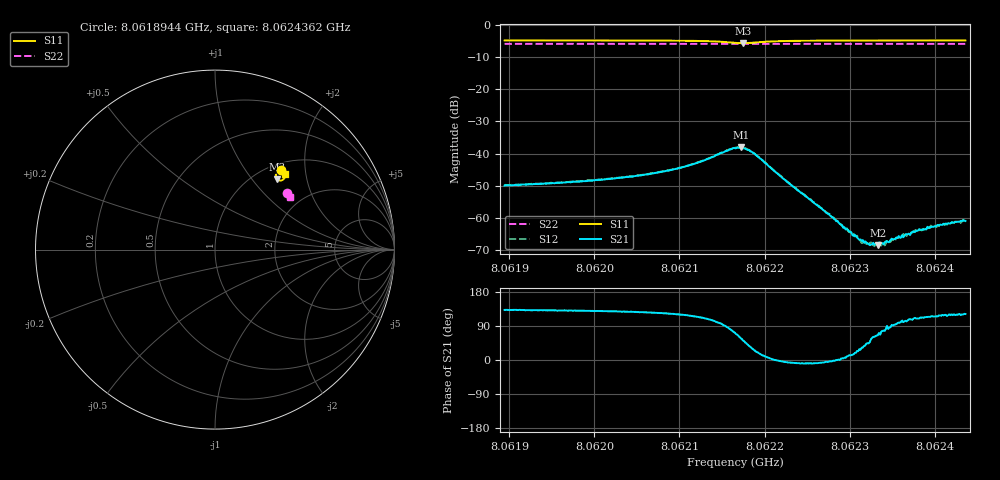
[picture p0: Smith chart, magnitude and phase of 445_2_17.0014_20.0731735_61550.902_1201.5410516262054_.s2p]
#  HZ  S  RI  R  50.00
! Rohde & Schwarz Vector Network Analyzer
! Rohde-Schwarz,ZNB20-2Port,1311601062101988,3.16
! Created: UTC 3/20/2024, 11:12:01 PM
! freq[Hz]  re:S11  im:S11  re:S21  im:S21  re:S12  im:S12  re:S22  im:S22
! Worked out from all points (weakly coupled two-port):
!   401 points, 8.0618944 GHz to 8.0624362 GHz, reference 50 ohm
!   highest |S21| = -38.10 dB at 8.0621721 GHz (marker M1); lowest = -68.5 dB at 8.0623332 GHz (marker M2)
!   lowest |S11| = -5.6 dB at 8.0621748 GHz (marker M3), VSWR 3.19, Z = 62.7 + j67.4 ohm
!   |S11| at or under -10 dB: nowhere
!   |S22| runs from -5.9 to -5.8 dB; largest |S21 - S12| = 0.00083
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8.06189445e9  0.3702 0.4413  -0.00214 0.00236  -0.002 0.00253  0.3996 0.3175
8.06198519e9  0.3769 0.4351  -0.00236 0.00283  -0.00222 0.00299  0.4029 0.313
8.06207593e9  0.3849 0.4252  -0.00285 0.00422  -0.00263 0.00442  0.4063 0.308
8.0621152e9  0.3887 0.4151  -0.00298 0.00606  -0.00263 0.00633  0.4077 0.3057
8.06216531e9  0.3634 0.3846  0.00382 0.0115  0.00455 0.0115  0.408 0.3023
8.06217208e9  0.351 0.3879  0.00666 0.0105  0.00731 0.0101  0.4076 0.3024
8.06217479e9  0.3465 0.3912  0.00757 0.00942  0.00811 0.0092  0.4075 0.3025
8.06218833e9  0.3383 0.4137  0.00901 0.00429  0.0092 0.00375  0.408 0.3029
8.06222761e9  0.362 0.4355  0.00352 -0.000405  0.00353 -0.000574  0.4106 0.3017
8.06225605e9  0.3713 0.4345  0.0018 -0.000298  0.00174 -0.000385  0.4119 0.3003
8.06227907e9  0.376 0.433  0.00102 -6.71e-05  0.00103 -0.000148  0.4131 0.299
8.06229803e9  0.379 0.4317  0.000641 0.000115  0.000626 4.77e-05  0.4136 0.2978
8.06230616e9  0.3801 0.431  0.000515 0.000174  0.000494 0.000145  0.414 0.2974
8.06231293e9  0.381 0.4306  0.00041 0.000209  0.000406 0.000153  0.4142 0.2971
8.06232376e9  0.3822 0.4297  0.000255 0.000277  0.000271 0.000299  0.4145 0.2966
8.06232918e9  0.3828 0.4292  0.000183 0.000334  0.000227 0.000282  0.4148 0.2963
8.06233324e9  0.3832 0.429  0.000155 0.00034  0.000166 0.000351  0.4148 0.2959
8.06234001e9  0.3839 0.4287  8.22e-05 0.000379  0.000112 0.000378  0.4153 0.2957
8.06234679e9  0.3845 0.428  3.42e-05 0.000425  2.55e-05 0.000417  0.4155 0.2953
8.06237523e9  0.3871 0.4263  -0.000203 0.000579  -0.000168 0.000582  0.4165 0.2938
8.06239419e9  0.3887 0.4252  -0.000286 0.000651  -0.000245 0.000648  0.4172 0.2928
8.06243617e9  0.3916 0.4227  -0.000465 0.000762  -0.000465 0.00082  0.4185 0.2908
